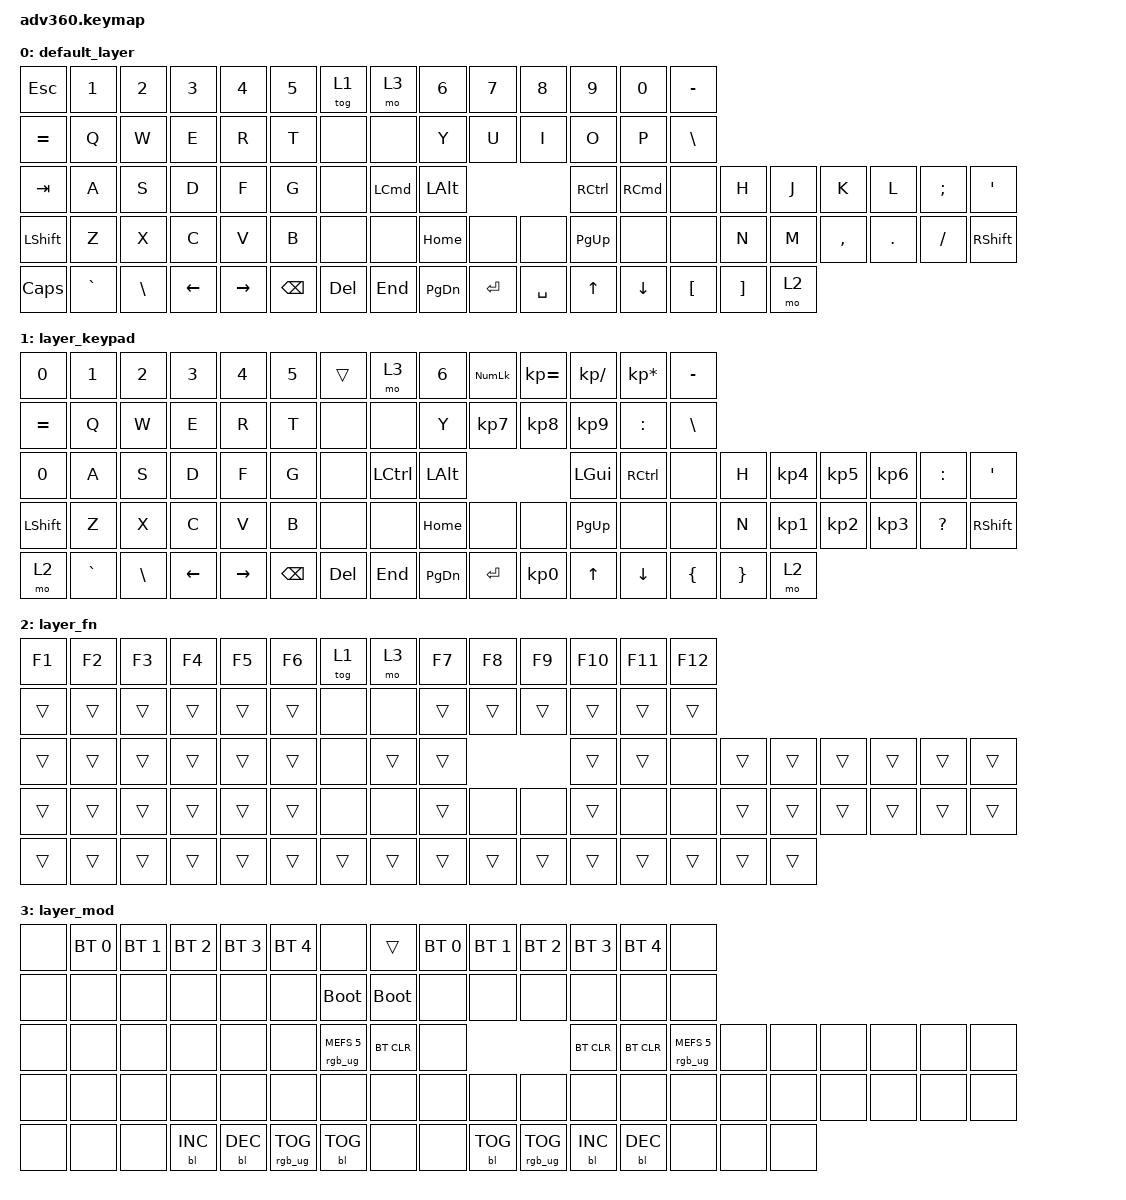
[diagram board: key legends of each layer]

/*
 * Copyright (c) 2020 The ZMK Contributors
 *
 * SPDX-License-Identifier: MIT
 */


/* THIS FILE WAS GENERATED!
 *
 * This file was generated automatically. You may or may not want to
 * edit it directly.
 */

#include <behaviors.dtsi>
#include <dt-bindings/zmk/keys.h>
#include <dt-bindings/zmk/bt.h>
#include <dt-bindings/zmk/rgb.h>
#include <dt-bindings/zmk/backlight.h>

/ {
  behaviors {
    #include "macros.dtsi"

    hm: homerow_mods {
        compatible = "zmk,behavior-hold-tap";
        label = "HOMEROW_MODS";
        #binding-cells = <2>;
        tapping-term-ms = <200>;
        quick_tap_ms = <175>;
        flavor = "tap-preferred";
        bindings = <&kp>, <&kp>;
    };
  };

    keymap {
        compatible = "zmk,keymap";


        default_layer {
            bindings = <
        &kp ESC     &kp N1         &kp N2    &kp N3     &kp N4    &kp N5             &tog 1             &mo 3     &kp N6     &kp N7     &kp N8     &kp N9             &kp N0  &kp MINUS
      &kp EQUAL      &kp Q          &kp W     &kp E      &kp R     &kp T              &none             &none      &kp Y      &kp U      &kp I      &kp O              &kp P   &kp BSLH
        &kp TAB      &kp A          &kp S     &kp D      &kp F     &kp G              &none  &kp LEFT_COMMAND   &kp LALT                        &kp RCTRL  &kp RIGHT_COMMAND      &none     &kp H   &kp J      &kp K    &kp L  &kp SEMICOLON          &kp SQT
 &kp LEFT_SHIFT      &kp Z          &kp X     &kp C      &kp V     &kp B              &none             &none   &kp HOME      &none      &none  &kp PG_UP              &none      &none     &kp N   &kp M  &kp COMMA  &kp DOT      &kp SLASH  &kp RIGHT_SHIFT
       &kp CAPS  &kp GRAVE  &kp BACKSLASH  &kp LEFT  &kp RIGHT  &kp BSPC            &kp DEL           &kp END  &kp PG_DN  &kp ENTER  &kp SPACE     &kp UP           &kp DOWN   &kp LBKT  &kp RBKT   &mo 2
            >;
        };

        layer_keypad {
            bindings = <
    &kp N0     &kp N1         &kp N2    &kp N3     &kp N4    &kp N5             &trans      &mo 3     &kp N6  &kp KP_NUM  &kp KP_EQUAL  &kp KP_DIVIDE  &kp KP_MULTIPLY       &kp MINUS
 &kp EQUAL      &kp Q          &kp W     &kp E      &kp R     &kp T              &none      &none      &kp Y   &kp KP_N7     &kp KP_N8      &kp KP_N9        &kp COLON        &kp BSLH
    &kp N0      &kp A          &kp S     &kp D      &kp F     &kp G              &none  &kp LCTRL   &kp LALT                                 &kp LGUI        &kp RCTRL           &none            &kp H  &kp KP_N4  &kp KP_N5  &kp KP_N6     &kp COLON    &kp SQT
 &kp LSHFT      &kp Z          &kp X     &kp C      &kp V     &kp B              &none      &none   &kp HOME       &none         &none      &kp PG_UP            &none           &none            &kp N  &kp KP_N1  &kp KP_N2  &kp KP_N3  &kp QUESTION  &kp RSHFT
     &mo 2  &kp GRAVE  &kp BACKSLASH  &kp LEFT  &kp RIGHT  &kp BSPC            &kp DEL    &kp END  &kp PG_DN   &kp ENTER     &kp KP_N0         &kp UP         &kp DOWN  &kp LEFT_BRACE  &kp RIGHT_BRACE      &mo 2
            >;
        };

        layer_fn {
            bindings = <
 &kp F1  &kp F2  &kp F3  &kp F4  &kp F5  &kp F6            &tog 1   &mo 3  &kp F7  &kp F8  &kp F9  &kp F10  &kp F11  &kp F12
 &trans  &trans  &trans  &trans  &trans  &trans             &none   &none  &trans  &trans  &trans   &trans   &trans   &trans
 &trans  &trans  &trans  &trans  &trans  &trans             &none  &trans  &trans                   &trans   &trans    &none  &trans  &trans  &trans  &trans  &trans  &trans
 &trans  &trans  &trans  &trans  &trans  &trans             &none   &none  &trans   &none   &none   &trans    &none    &none  &trans  &trans  &trans  &trans  &trans  &trans
 &trans  &trans  &trans  &trans  &trans  &trans            &trans  &trans  &trans  &trans  &trans   &trans   &trans   &trans  &trans  &trans
            >;
        };

        layer_mod {
            bindings = <
  &none  &bt BT_SEL 0  &bt BT_SEL 1  &bt BT_SEL 2  &bt BT_SEL 3     &bt BT_SEL 4                             &none       &trans  &bt BT_SEL 0  &bt BT_SEL 1     &bt BT_SEL 2  &bt BT_SEL 3  &bt BT_SEL 4                   &none
  &none         &none         &none         &none         &none            &none                       &bootloader  &bootloader         &none         &none            &none         &none         &none                   &none
  &none         &none         &none         &none         &none            &none            &rgb_ug RGB_MEFS_CMD 5   &bt BT_CLR         &none                                   &bt BT_CLR    &bt BT_CLR  &rgb_ug RGB_MEFS_CMD 5   &none   &none   &none   &none   &none   &none
  &none         &none         &none         &none         &none            &none                             &none        &none         &none         &none            &none         &none         &none                   &none   &none   &none   &none   &none   &none   &none
  &none         &none         &none    &bl BL_INC    &bl BL_DEC  &rgb_ug RGB_TOG                        &bl BL_TOG        &none         &none    &bl BL_TOG  &rgb_ug RGB_TOG    &bl BL_INC    &bl BL_DEC                   &none   &none   &none
            >;
        };

    };
};
